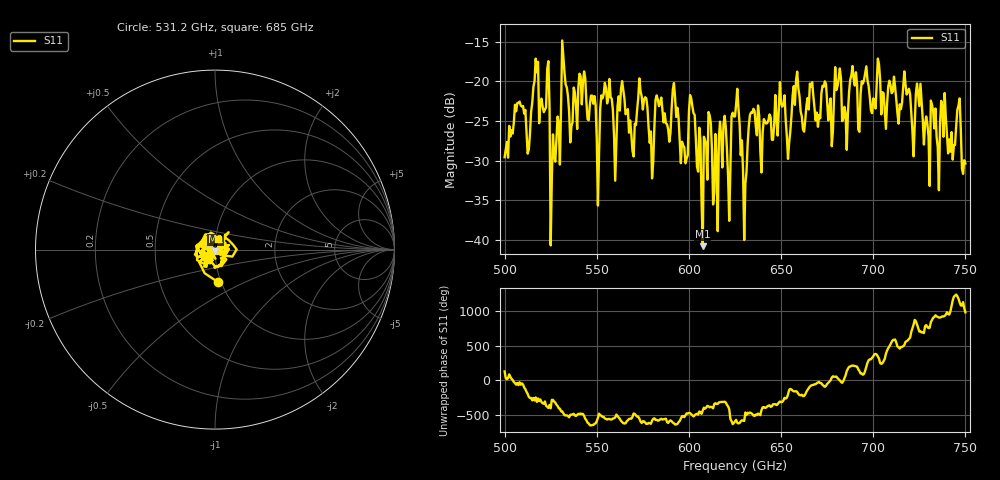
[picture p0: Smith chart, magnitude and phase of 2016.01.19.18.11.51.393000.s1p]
!Created with skrf (http://scikit-rf.org).
# GHz S RI R 50.0
!freq ReS11 ImS11
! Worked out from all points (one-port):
!   401 points, 500 GHz to 750 GHz, reference 50 ohm
!   lowest |S11| = -40.8 dB at 607.5 GHz (marker M1), VSWR 1.02, Z = 50.3 - j0.874 ohm
!   |S11| at or under -10 dB: start of sweep to end of sweep
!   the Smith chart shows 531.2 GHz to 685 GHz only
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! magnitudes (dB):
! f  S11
! 500 GHz  -29.6
! 506.9 GHz  -22.7
! 513.1 GHz  -28.6
! 516.9 GHz  -17.1
! 523.1 GHz  -18.4
! 526.2 GHz  -26.7
! 531.2 GHz  -14.8
! 550.6 GHz  -35.7
! 553.8 GHz  -21.6
! 560 GHz  -32.5
! 562.5 GHz  -23.7
! 574.4 GHz  -21.9
! 579.4 GHz  -26.3
! 583.1 GHz  -22.3
! 593.8 GHz  -23.3
! 598.1 GHz  -30.3
! 601.9 GHz  -23.2
! 607.5 GHz  -40.8
! 621.9 GHz  -37.6
! 625 GHz  -24.4
! 630.6 GHz  -32.9
! 634.4 GHz  -24.0
! 656.2 GHz  -21.8
! 687.5 GHz  -19.8
! 718.8 GHz  -21.4
! 734.4 GHz  -27.0
! 746.2 GHz  -23.1
! 750 GHz  -30.4
